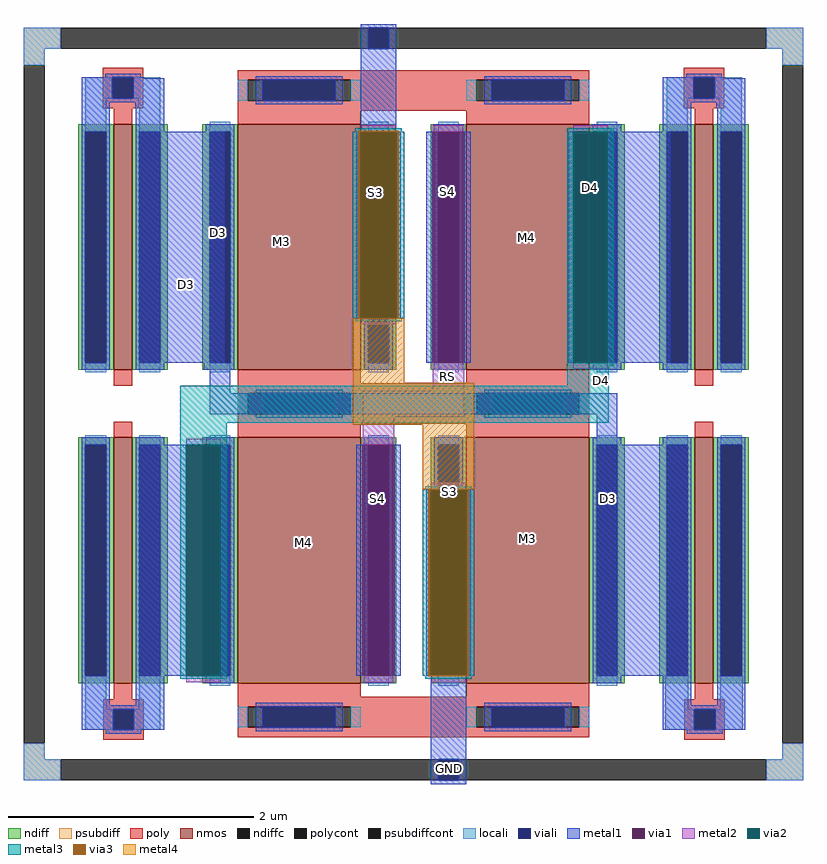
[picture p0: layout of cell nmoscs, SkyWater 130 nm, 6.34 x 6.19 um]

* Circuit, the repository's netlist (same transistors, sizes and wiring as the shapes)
** sch_path: /home/muhammadkhairulfattah/opamp/mag/nmoscs.sch
.subckt nmoscs D3 D4 RS GND
*.PININFO RS:B D3:B D4:B GND:B
XM3 D3 D3 GND GND sky130_fd_pr__nfet_01v8 L=1 W=2 nf=1 m=2
XM4 D4 D3 RS GND sky130_fd_pr__nfet_01v8 L=1 W=2 nf=1 m=2
XM1 D3 D3 D3 GND sky130_fd_pr__nfet_01v8 L=0.15 W=2 nf=1 m=2
XM2 D4 D4 D4 GND sky130_fd_pr__nfet_01v8 L=0.15 W=2 nf=1 m=2
.ends
.end

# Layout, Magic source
magic
tech sky130A
magscale 1 2
<< psubdiff >>
rect -262 1129 -202 1163
rect 946 1129 1006 1163
rect -262 1102 -228 1129
rect 972 1102 1006 1129
rect -262 -28 -228 -2
rect 972 -28 1006 -2
rect -262 -62 -202 -28
rect 946 -62 1006 -28
<< psubdiffcont >>
rect -202 1129 946 1163
rect -262 -2 -228 1102
rect 972 -2 1006 1102
rect -202 -62 946 -28
<< poly >>
rect -134 1082 -68 1098
rect -134 1048 -118 1082
rect -84 1048 -68 1082
rect -134 1032 -68 1048
rect -116 1006 -86 1032
rect 286 1028 458 1094
rect 812 1082 878 1098
rect 812 1048 828 1082
rect 862 1048 878 1082
rect 812 1032 878 1048
rect 270 518 474 584
rect -133 54 -67 70
rect -133 20 -117 54
rect -83 20 -67 54
rect -133 4 -67 20
rect 286 8 458 74
rect 813 54 879 70
rect 813 20 829 54
rect 863 20 879 54
rect 813 4 879 20
<< polycont >>
rect -118 1048 -84 1082
rect 828 1048 862 1082
rect -117 20 -83 54
rect 829 20 863 54
<< locali >>
rect -262 1129 -202 1163
rect 946 1129 1006 1163
rect -262 1102 -228 1129
rect 972 1102 1006 1129
rect -162 1048 -118 1082
rect -84 1048 -40 1082
rect -162 1006 -128 1048
rect -76 1032 -40 1048
rect -74 1006 -40 1032
rect 784 1048 828 1082
rect 862 1048 906 1082
rect 784 1010 818 1048
rect 870 1032 906 1048
rect 872 1010 906 1032
rect -162 70 -128 108
rect -74 70 -40 96
rect -162 54 -127 70
rect -75 54 -40 70
rect -162 20 -117 54
rect -83 20 -40 54
rect 782 54 819 108
rect 871 54 908 108
rect 782 20 829 54
rect 863 20 908 54
rect -262 -28 -228 -2
rect 972 -28 1006 -2
rect -262 -62 -202 -28
rect 946 -62 1006 -28
<< viali >>
rect 298 1129 332 1163
rect -118 1048 -84 1082
rect 828 1048 862 1082
rect -117 20 -83 54
rect 829 20 863 54
rect 412 -62 446 -28
<< metal1 >>
rect 286 1163 344 1169
rect 286 1129 298 1163
rect 332 1129 344 1163
rect -130 1082 -72 1088
rect -168 1048 -118 1082
rect -84 1081 -67 1082
rect -84 1048 -34 1081
rect -168 1042 -34 1048
rect -168 1006 -122 1042
rect -81 1032 -34 1042
rect -80 1006 -34 1032
rect 286 994 344 1129
rect 816 1082 874 1088
rect 778 1048 828 1082
rect 862 1081 879 1082
rect 862 1048 912 1081
rect 778 1042 912 1048
rect 778 1006 824 1042
rect 865 1032 912 1042
rect 866 1006 912 1032
rect -74 618 65 994
rect 279 690 289 994
rect 341 690 351 994
rect 393 618 403 994
rect 455 618 465 994
rect 624 618 634 994
rect 686 618 791 994
rect 31 606 65 618
rect 40 568 74 606
rect 40 534 704 568
rect 670 484 704 534
rect -74 108 2 484
rect 58 108 74 484
rect 279 108 289 484
rect 341 108 351 484
rect 393 108 403 412
rect 455 108 465 412
rect 670 108 818 484
rect -168 60 -122 108
rect -80 60 -34 108
rect -168 54 -34 60
rect -168 20 -117 54
rect -83 20 -34 54
rect -129 14 -71 20
rect 400 -28 458 108
rect 778 60 824 108
rect 866 60 912 108
rect 778 54 912 60
rect 778 20 829 54
rect 863 20 912 54
rect 817 14 875 20
rect 400 -62 412 -28
rect 446 -62 458 -28
rect 400 -68 458 -62
<< via1 >>
rect 289 690 341 994
rect 403 618 455 994
rect 634 618 686 994
rect 2 108 58 484
rect 289 108 341 484
rect 403 108 455 412
<< metal2 >>
rect 287 994 343 1004
rect 287 680 343 690
rect 403 994 455 1004
rect 403 572 455 618
rect 632 994 688 1004
rect 632 608 688 618
rect 289 530 455 572
rect 2 484 58 494
rect 2 98 58 108
rect 289 484 341 530
rect 289 98 341 108
rect 401 412 457 422
rect 401 98 457 108
<< via2 >>
rect 287 690 289 994
rect 289 690 341 994
rect 341 690 343 994
rect 632 618 634 994
rect 634 618 686 994
rect 686 618 688 994
rect 2 108 58 484
rect 401 108 403 412
rect 403 108 455 412
rect 455 108 457 412
<< metal3 >>
rect 277 994 353 999
rect 622 994 698 999
rect 273 690 283 994
rect 347 690 357 994
rect 277 685 353 690
rect 622 618 632 994
rect 688 618 698 994
rect 622 613 698 618
rect 622 580 690 613
rect -8 520 690 580
rect -8 484 68 520
rect -8 108 2 484
rect 58 108 68 484
rect 391 412 467 417
rect 387 108 397 412
rect 461 108 471 412
rect -8 103 68 108
rect 391 103 467 108
<< via3 >>
rect 283 690 287 994
rect 287 690 343 994
rect 343 690 347 994
rect 397 108 401 412
rect 401 108 457 412
rect 457 108 461 412
<< metal4 >>
rect 282 994 348 995
rect 282 690 283 994
rect 347 690 348 994
rect 273 585 357 690
rect 273 517 471 585
rect 387 412 471 517
rect 396 108 397 412
rect 461 108 462 412
rect 396 107 462 108
use sky130_fd_pr__nfet_01v8_4HFSKE  sky130_fd_pr__nfet_01v8_4HFSKE_0
transform 1 0 845 0 1 806
box -73 -226 73 226
use sky130_fd_pr__nfet_01v8_4HFSKE  sky130_fd_pr__nfet_01v8_4HFSKE_1
transform 1 0 -101 0 1 806
box -73 -226 73 226
use sky130_fd_pr__nfet_01v8_4HFSKE  sky130_fd_pr__nfet_01v8_4HFSKE_2
transform 1 0 -101 0 1 296
box -73 -226 73 226
use sky130_fd_pr__nfet_01v8_4HFSKE  sky130_fd_pr__nfet_01v8_4HFSKE_3
transform 1 0 845 0 1 296
box -73 -226 73 226
use sky130_fd_pr__nfet_01v8_QCS68M  sky130_fd_pr__nfet_01v8_QCS68M_0
transform 1 0 372 0 1 551
box -344 -543 344 543
<< labels >>
flabel space 153 812 161 817 0 FreeSans 320 0 0 0 M3
flabel via1 306 892 314 897 0 FreeSans 320 0 0 0 S3
flabel space 552 819 560 824 0 FreeSans 320 0 0 0 M4
flabel space 553 329 561 334 0 FreeSans 320 0 0 0 M3
flabel space 189 323 197 328 0 FreeSans 320 0 0 0 M4
flabel via1 310 394 318 399 0 FreeSans 320 0 0 0 S4
flabel via1 424 894 432 899 0 FreeSans 320 0 0 0 S4
flabel via1 426 405 434 410 0 FreeSans 320 0 0 0 S3
flabel via1 656 900 664 905 0 FreeSans 320 0 0 0 D4
flabel metal1 685 395 693 400 0 FreeSans 320 0 0 0 D3
flabel metal1 54 830 54 830 0 FreeSans 320 0 0 0 D3
flabel metal1 2 745 2 745 0 FreeSans 320 0 0 0 D3
port 1 nsew
flabel metal2 427 595 427 595 0 FreeSans 320 0 0 0 RS
port 2 nsew
flabel metal3 678 588 678 588 0 FreeSans 320 0 0 0 D4
port 4 nsew
flabel viali 431 -42 431 -42 0 FreeSans 320 0 0 0 GND
port 6 nsew
<< end >>

# cell sky130_fd_pr__nfet_01v8_4HFSKE: kit device sky130_fd_pr__nfet_01v8, w 2 l 0.15 m 1 nf 1 diffcov 100 polycov 100 guard 0 glc 1 grc 1 gtc 1 gbc 1 tbcov 100 rlcov 100 topc 0 botc 0 poverlap 0 doverlap 1 lmin 0.15 wmin 0.42 compatible {sky130_fd_pr__nfet_01v8 sky130_fd_pr__nfet_01v8_lvt sky130_fd_bs_flash__special_sonosfet_star sky130_fd_pr__nfet_g5v0d10v5 sky130_fd_pr__nfet_05v0_nvt sky130_fd_pr__nfet_03v3_nvt} full_metal 1 viasrc 100 viadrn 100 viagate 100 viagb 0 viagr 0 viagl 0 viagt 0

# cell sky130_fd_pr__nfet_01v8_QCS68M: kit device sky130_fd_pr__nfet_01v8, w 2 l 1 m 2 nf 2 diffcov 100 polycov 100 guard 0 glc 1 grc 1 gtc 1 gbc 1 tbcov 100 rlcov 100 topc 1 botc 1 poverlap 1 doverlap 0 lmin 0.15 wmin 0.42 compatible {sky130_fd_pr__nfet_01v8 sky130_fd_pr__nfet_01v8_lvt sky130_fd_bs_flash__special_sonosfet_star sky130_fd_pr__nfet_g5v0d10v5 sky130_fd_pr__nfet_05v0_nvt sky130_fd_pr__nfet_03v3_nvt} full_metal 1 viasrc 100 viadrn 100 viagate 70 viagb 0 viagr 0 viagl 0 viagt 0
